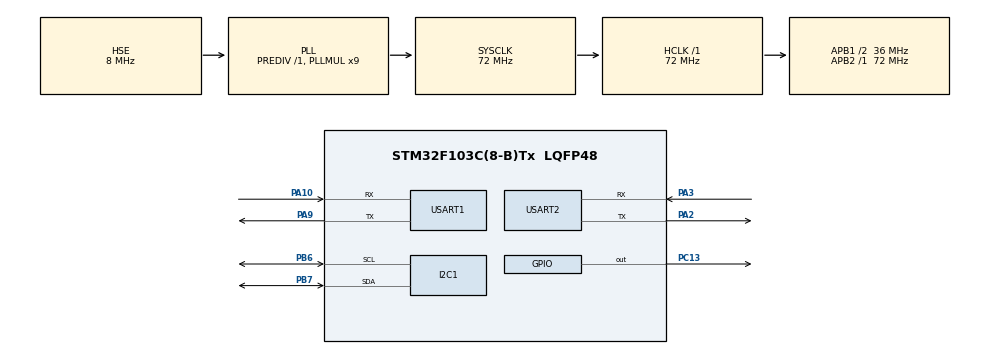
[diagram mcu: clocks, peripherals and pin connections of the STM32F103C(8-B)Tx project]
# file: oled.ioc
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Mcu.Family=STM32F1
Mcu.Name=STM32F103C(8-B)Tx
Mcu.Package=LQFP48
NVIC.PriorityGroup=NVIC_PRIORITYGROUP_4
PA10.Mode=Asynchronous
PA10.Signal=USART1_RX
PA13.Mode=Serial_Wire
PA13.Signal=SYS_JTMS-SWDIO
PA14.Mode=Serial_Wire
PA14.Signal=SYS_JTCK-SWCLK
PA2.Mode=Asynchronous
PA2.Signal=USART2_TX
PA3.Mode=Asynchronous
PA3.Signal=USART2_RX
PA9.Mode=Asynchronous
PA9.Signal=USART1_TX
PB6.Mode=I2C
PB6.Signal=I2C1_SCL
PB7.Mode=I2C
PB7.Signal=I2C1_SDA
PC13-TAMPER-RTC.Signal=GPIO_Output
PC14-OSC32_IN.Mode=LSE-External-Oscillator
PC14-OSC32_IN.Signal=RCC_OSC32_IN
PC15-OSC32_OUT.Mode=LSE-External-Oscillator
PC15-OSC32_OUT.Signal=RCC_OSC32_OUT
PD0-OSC_IN.Mode=HSE-External-Oscillator
PD0-OSC_IN.Signal=RCC_OSC_IN
PD1-OSC_OUT.Mode=HSE-External-Oscillator
PD1-OSC_OUT.Signal=RCC_OSC_OUT
ProjectManager.HeapSize=0x200
ProjectManager.StackSize=0x400
ProjectManager.TargetToolchain=Makefile
RCC.AHBFreq_Value=72000000
RCC.APB1CLKDivider=RCC_HCLK_DIV2
RCC.APB1Freq_Value=36000000
RCC.APB1TimFreq_Value=72000000
RCC.APB2Freq_Value=72000000
RCC.APB2TimFreq_Value=72000000
RCC.HCLKFreq_Value=72000000
RCC.PLLMUL=RCC_PLL_MUL9
RCC.PLLSourceVirtual=RCC_PLLSOURCE_HSE
RCC.SYSCLKFreq_VALUE=72000000
RCC.SYSCLKSource=RCC_SYSCLKSOURCE_PLLCLK
RCC.USBFreq_Value=72000000
USART1.VirtualMode=VM_ASYNC
USART2.VirtualMode=VM_ASYNC
board=oled

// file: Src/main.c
/**
  ******************************************************************************
  * File Name          : main.c
  * Description        : Main program body
  ******************************************************************************
  ** This notice applies to any and all portions of this file
  * that are not between comment pairs USER CODE BEGIN and
  * USER CODE END. Other portions of this file, whether
  * inserted by the user or by software development tools
  * are owned by their respective copyright owners.
  *
  * COPYRIGHT(c) 2017 STMicroelectronics
  *
  * Redistribution and use in source and binary forms, with or without modification,
  * are permitted provided that the following conditions are met:
  *   1. Redistributions of source code must retain the above copyright notice,
  *      this list of conditions and the following disclaimer.
  *   2. Redistributions in binary form must reproduce the above copyright notice,
  *      this list of conditions and the following disclaimer in the documentation
  *      and/or other materials provided with the distribution.
  *   3. Neither the name of STMicroelectronics nor the names of its contributors
  *      may be used to endorse or promote products derived from this software
  *      without specific prior written permission.
  *
  * THIS SOFTWARE IS PROVIDED BY THE COPYRIGHT HOLDERS AND CONTRIBUTORS "AS IS"
  * AND ANY EXPRESS OR IMPLIED WARRANTIES, INCLUDING, BUT NOT LIMITED TO, THE
  * IMPLIED WARRANTIES OF MERCHANTABILITY AND FITNESS FOR A PARTICULAR PURPOSE ARE
  * DISCLAIMED. IN NO EVENT SHALL THE COPYRIGHT HOLDER OR CONTRIBUTORS BE LIABLE
  * FOR ANY DIRECT, INDIRECT, INCIDENTAL, SPECIAL, EXEMPLARY, OR CONSEQUENTIAL
  * DAMAGES (INCLUDING, BUT NOT LIMITED TO, PROCUREMENT OF SUBSTITUTE GOODS OR
  * SERVICES; LOSS OF USE, DATA, OR PROFITS; OR BUSINESS INTERRUPTION) HOWEVER
  * CAUSED AND ON ANY THEORY OF LIABILITY, WHETHER IN CONTRACT, STRICT LIABILITY,
  * OR TORT (INCLUDING NEGLIGENCE OR OTHERWISE) ARISING IN ANY WAY OUT OF THE USE
  * OF THIS SOFTWARE, EVEN IF ADVISED OF THE POSSIBILITY OF SUCH DAMAGE.
  *
  ******************************************************************************
  */
#include "main.h"
#include "stm32f1xx_hal.h"

/* USER CODE BEGIN Includes */
#include "cat.h"
#define OLED_ADDR 0x78
#define OLED_BUF_SIZE 128*64/8+1

/* USER CODE END Includes */

I2C_HandleTypeDef hi2c1;

UART_HandleTypeDef huart1;
UART_HandleTypeDef huart2;

/* USER CODE BEGIN PV */
/* Private variables ---------------------------------------------------------*/

/* USER CODE END PV */

void SystemClock_Config(void);
static void MX_GPIO_Init(void);
static void MX_USART1_UART_Init(void);
static void MX_USART2_UART_Init(void);
static void MX_I2C1_Init(void);
static void OLED_Init(void);

/* USER CODE BEGIN PFP */
/* Private function prototypes -----------------------------------------------*/

/* USER CODE END PFP */

/* USER CODE BEGIN 0 */
void _tputc(void* p, char c ) {
  while (HAL_UART_GetState(&huart1) != (HAL_UART_StateTypeDef) HAL_UART_STATE_READY);
  HAL_UART_Transmit(&huart1, &c, 1, 1000);
}

/* USER CODE END 0 */

int main(void)
{

  /* MCU Configuration----------------------------------------------------------*/

  /* Reset of all peripherals, Initializes the Flash interface and the Systick. */
  HAL_Init();

  /* Configure the system clock */
  SystemClock_Config();

  /* Initialize all configured peripherals */
  MX_GPIO_Init();
  MX_USART1_UART_Init();
  MX_USART2_UART_Init();
  MX_I2C1_Init();

  /* USER CODE BEGIN 2 */
  OLED_Init();
  uint8_t cmd[] = {0x00, 0xA4};
  uint16_t CMD_SIZE = 2;
  HAL_I2C_Master_Transmit(&hi2c1, (uint16_t) OLED_ADDR, cat128x64, OLED_BUF_SIZE, 1000);
  HAL_I2C_Master_Transmit(&hi2c1, (uint16_t) OLED_ADDR, cmd, CMD_SIZE, 1000);

  init_printf(NULL, _tputc);
  printf("%d\n",2);
  uint8_t c='1';
  HAL_UART_Transmit(&huart1, &c, 1, 1000);
  HAL_GPIO_TogglePin(GPIOC, GPIO_PIN_13);
  /* USER CODE END 2 */

  /* Infinite loop */
  while (1)
  {

  }

}

/** System Clock Configuration
*/
void SystemClock_Config(void)
{

  RCC_OscInitTypeDef RCC_OscInitStruct;
  RCC_ClkInitTypeDef RCC_ClkInitStruct;

    /**Initializes the CPU, AHB and APB busses clocks
    */
  RCC_OscInitStruct.OscillatorType = RCC_OSCILLATORTYPE_HSE;
  RCC_OscInitStruct.HSEState = RCC_HSE_ON;
  RCC_OscInitStruct.HSEPredivValue = RCC_HSE_PREDIV_DIV1;
  RCC_OscInitStruct.HSIState = RCC_HSI_ON;
  RCC_OscInitStruct.PLL.PLLState = RCC_PLL_ON;
  RCC_OscInitStruct.PLL.PLLSource = RCC_PLLSOURCE_HSE;
  RCC_OscInitStruct.PLL.PLLMUL = RCC_PLL_MUL9;
  if (HAL_RCC_OscConfig(&RCC_OscInitStruct) != HAL_OK)
  {
    _Error_Handler(__FILE__, __LINE__);
  }

    /**Initializes the CPU, AHB and APB busses clocks
    */
  RCC_ClkInitStruct.ClockType = RCC_CLOCKTYPE_HCLK|RCC_CLOCKTYPE_SYSCLK
                              |RCC_CLOCKTYPE_PCLK1|RCC_CLOCKTYPE_PCLK2;
  RCC_ClkInitStruct.SYSCLKSource = RCC_SYSCLKSOURCE_PLLCLK;
  RCC_ClkInitStruct.AHBCLKDivider = RCC_SYSCLK_DIV1;
  RCC_ClkInitStruct.APB1CLKDivider = RCC_HCLK_DIV2;
  RCC_ClkInitStruct.APB2CLKDivider = RCC_HCLK_DIV1;

  if (HAL_RCC_ClockConfig(&RCC_ClkInitStruct, FLASH_LATENCY_2) != HAL_OK)
  {
    _Error_Handler(__FILE__, __LINE__);
  }

    /**Configure the Systick interrupt time
    */
  HAL_SYSTICK_Config(HAL_RCC_GetHCLKFreq()/1000);

    /**Configure the Systick
    */
  HAL_SYSTICK_CLKSourceConfig(SYSTICK_CLKSOURCE_HCLK);

  /* SysTick_IRQn interrupt configuration */
  HAL_NVIC_SetPriority(SysTick_IRQn, 0, 0);
}

/* I2C1 init function */
static void MX_I2C1_Init(void)
{

  hi2c1.Instance = I2C1;
  hi2c1.Init.ClockSpeed = 400000;
  hi2c1.Init.DutyCycle = I2C_DUTYCYCLE_2;
  hi2c1.Init.OwnAddress1 = 0;
  hi2c1.Init.AddressingMode = I2C_ADDRESSINGMODE_7BIT;
  hi2c1.Init.DualAddressMode = I2C_DUALADDRESS_DISABLE;
  hi2c1.Init.OwnAddress2 = 0;
  hi2c1.Init.GeneralCallMode = I2C_GENERALCALL_DISABLE;
  hi2c1.Init.NoStretchMode = I2C_NOSTRETCH_DISABLE;
  if (HAL_I2C_Init(&hi2c1) != HAL_OK)
  {
    _Error_Handler(__FILE__, __LINE__);
  }

}

/* USART1 init function */
static void MX_USART1_UART_Init(void)
{

  huart1.Instance = USART1;
  huart1.Init.BaudRate = 115200;
  huart1.Init.WordLength = UART_WORDLENGTH_8B;
  huart1.Init.StopBits = UART_STOPBITS_1;
  huart1.Init.Parity = UART_PARITY_NONE;
  huart1.Init.Mode = UART_MODE_TX_RX;
  huart1.Init.HwFlowCtl = UART_HWCONTROL_NONE;
  huart1.Init.OverSampling = UART_OVERSAMPLING_16;
  if (HAL_UART_Init(&huart1) != HAL_OK)
  {
    _Error_Handler(__FILE__, __LINE__);
  }

}

/* USART2 init function */
static void MX_USART2_UART_Init(void)
{

  huart2.Instance = USART2;
  huart2.Init.BaudRate = 115200;
  huart2.Init.WordLength = UART_WORDLENGTH_8B;
  huart2.Init.StopBits = UART_STOPBITS_1;
  huart2.Init.Parity = UART_PARITY_NONE;
  huart2.Init.Mode = UART_MODE_TX_RX;
  huart2.Init.HwFlowCtl = UART_HWCONTROL_NONE;
  huart2.Init.OverSampling = UART_OVERSAMPLING_16;
  if (HAL_UART_Init(&huart2) != HAL_OK)
  {
    _Error_Handler(__FILE__, __LINE__);
  }

}

/** Configure pins as
        * Analog
        * Input
        * Output
        * EVENT_OUT
        * EXTI
*/
static void MX_GPIO_Init(void)
{

  GPIO_InitTypeDef GPIO_InitStruct;

  /* GPIO Ports Clock Enable */
  __HAL_RCC_GPIOC_CLK_ENABLE();
  __HAL_RCC_GPIOD_CLK_ENABLE();
  __HAL_RCC_GPIOA_CLK_ENABLE();
  __HAL_RCC_GPIOB_CLK_ENABLE();

  /*Configure GPIO pin Output Level */
  HAL_GPIO_WritePin(GPIOC, GPIO_PIN_13, GPIO_PIN_RESET);

  /*Configure GPIO pin : PC13 */
  GPIO_InitStruct.Pin = GPIO_PIN_13;
  GPIO_InitStruct.Mode = GPIO_MODE_OUTPUT_PP;
  GPIO_InitStruct.Speed = GPIO_SPEED_FREQ_LOW;
  HAL_GPIO_Init(GPIOC, &GPIO_InitStruct);

}

/* USER CODE BEGIN 4 */
static void OLED_Init(void) {
  uint8_t init[] = {0xAE, 0x20, 0x10, 0xB0, 0xC8, 0x00, 0x10, 0x40, 0x81,
  0xFF, 0xA1, 0xA6, 0xA8, 0x3F, 0xA4, 0xD3, 0x00, 0xD5, 0xF0, 0xD9, 0x22,
  0xDA, 0x12, 0xDB, 0x20, 0x8D, 0x14, 0xAF};
  uint16_t initlen = 28;
  HAL_I2C_Master_Transmit(&hi2c1, (uint16_t) OLED_ADDR, init, initlen, 1000);
}

/* USER CODE END 4 */

void _Error_Handler(char * file, int line)
{
  while(1)
  {
  }
}

/************************ (C) COPYRIGHT STMicroelectronics *****END OF FILE****/
